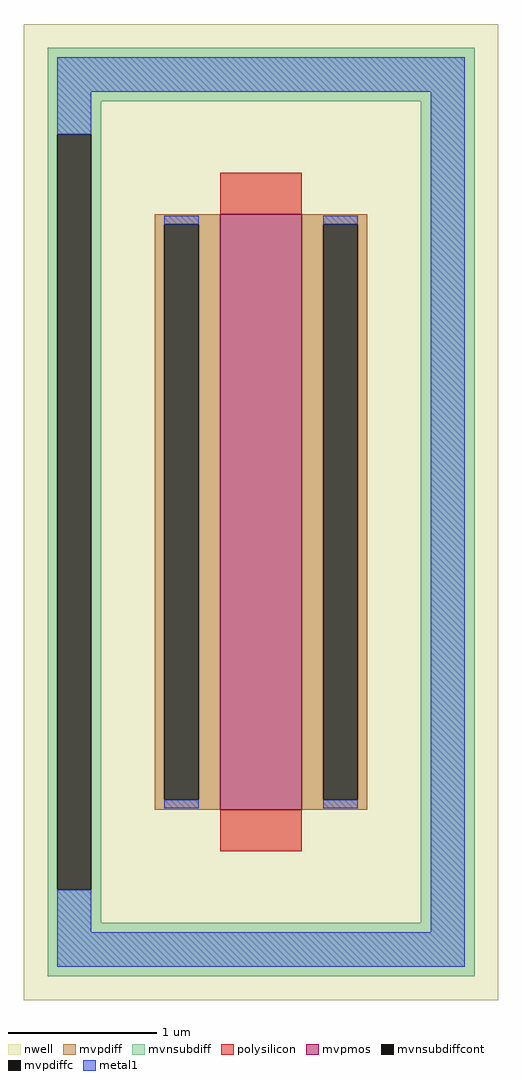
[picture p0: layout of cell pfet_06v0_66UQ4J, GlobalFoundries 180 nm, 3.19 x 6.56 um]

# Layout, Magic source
magic
tech gf180mcuD
magscale 1 10
<< nwell >>
rect -319 -656 319 656
<< mvpmos >>
rect -55 -400 55 400
<< mvpdiff >>
rect -143 387 -55 400
rect -143 -387 -130 387
rect -84 -387 -55 387
rect -143 -400 -55 -387
rect 55 387 143 400
rect 55 -387 84 387
rect 130 -387 143 387
rect 55 -400 143 -387
<< mvpdiffc >>
rect -130 -387 -84 387
rect 84 -387 130 387
<< mvnsubdiff >>
rect -287 552 287 624
rect -287 508 -215 552
rect -287 -508 -274 508
rect -228 -508 -215 508
rect -287 -552 -215 -508
rect 215 -552 287 552
rect -287 -624 287 -552
<< mvnsubdiffcont >>
rect -274 -508 -228 508
<< polysilicon >>
rect -55 400 55 456
rect -55 -456 55 -400
<< metal1 >>
rect -274 565 274 611
rect -274 508 -228 565
rect -130 387 -84 398
rect -130 -398 -84 -387
rect 84 387 130 398
rect 84 -398 130 -387
rect -274 -565 -228 -508
rect 228 -565 274 565
rect -274 -611 274 -565
<< properties >>
string FIXED_BBOX -251 -588 251 588
string gencell pfet_06v0
string library gf180mcu
string parameters w 4 l 0.55 m 1 nf 1 diffcov 100 polycov 100 guard 1 glc 1 grc 0 gtc 0 gbc 0 tbcov 100 rlcov 100 topc 1 botc 1 poverlap 0 doverlap 1 lmin 0.5 wmin 0.3 class mosfet full_metal 1 compatible {pfet_03v3 pfet_06v0}
<< end >>
